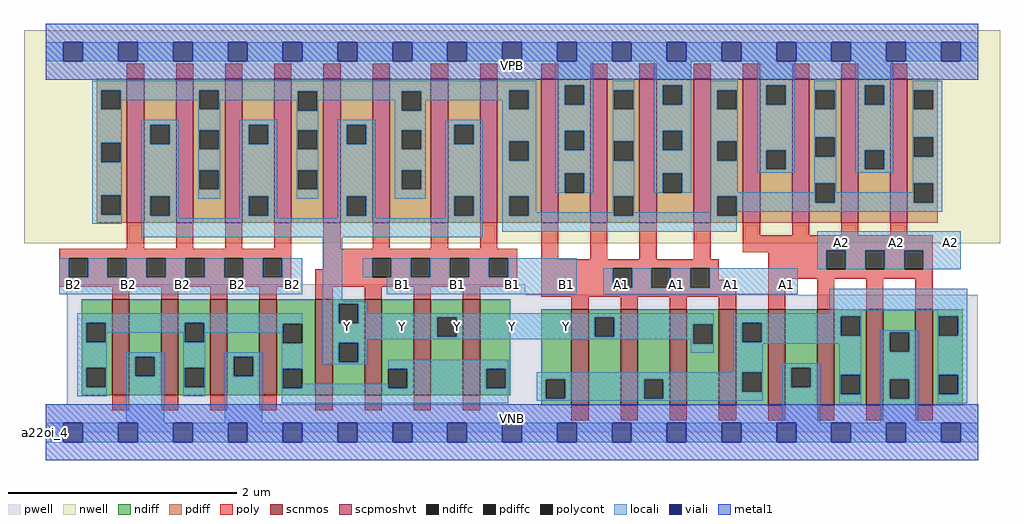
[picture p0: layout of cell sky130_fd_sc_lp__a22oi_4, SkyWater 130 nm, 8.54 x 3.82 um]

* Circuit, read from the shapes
.subckt sky130_fd_sc_lp__a22oi_4 A1 A2 B1 B2 VGND VNB VPB VPWR Y
XM1 VGND B2 n1 VNB sky130_fd_pr__nfet_01v8 w=0.84 l=0.15 m=4
XM2 Y B1 n1 VNB sky130_fd_pr__nfet_01v8 w=0.84 l=0.15 m=4
XM3 Y A1 n2 VNB sky130_fd_pr__nfet_01v8 w=0.84 l=0.15 m=4
XM4 VGND A2 n2 VNB sky130_fd_pr__nfet_01v8 w=0.84 l=0.15 m=4
XM5 Y B2 n3 VPB sky130_fd_pr__pfet_01v8_hvt w=1.26 l=0.15 m=4
XM6 Y B1 n3 VPB sky130_fd_pr__pfet_01v8_hvt w=1.26 l=0.15 m=4
XM7 VPWR A1 n3 VPB sky130_fd_pr__pfet_01v8_hvt w=1.26 l=0.15 m=4
XM8 VPWR A2 n3 VPB sky130_fd_pr__pfet_01v8_hvt w=1.26 l=0.15 m=4
.ends

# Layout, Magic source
magic
tech sky130A
magscale 1 2
<< nwell >>
rect -38 331 1670 704
<< pwell >>
rect 37 241 839 259
rect 37 49 1631 241
rect 0 0 1632 49
<< scnmos >>
rect 116 65 146 233
rect 202 65 232 233
rect 288 65 318 233
rect 374 65 404 233
rect 472 65 502 233
rect 558 65 588 233
rect 644 65 674 233
rect 730 65 760 233
rect 920 47 950 215
rect 1006 47 1036 215
rect 1092 47 1122 215
rect 1178 47 1208 215
rect 1264 47 1294 215
rect 1350 47 1380 215
rect 1436 47 1466 215
rect 1522 47 1552 215
<< scpmoshvt >>
rect 142 367 172 619
rect 228 367 258 619
rect 314 367 344 619
rect 400 367 430 619
rect 486 367 516 619
rect 572 367 602 619
rect 674 367 704 619
rect 760 367 790 619
rect 867 367 897 619
rect 953 367 983 619
rect 1039 367 1069 619
rect 1134 367 1164 619
rect 1220 367 1250 619
rect 1306 367 1336 619
rect 1392 367 1422 619
rect 1478 367 1508 619
<< ndiff >>
rect 63 192 116 233
rect 63 158 71 192
rect 105 158 116 192
rect 63 113 116 158
rect 63 79 71 113
rect 105 79 116 113
rect 63 65 116 79
rect 146 132 202 233
rect 146 98 157 132
rect 191 98 202 132
rect 146 65 202 98
rect 232 192 288 233
rect 232 158 243 192
rect 277 158 288 192
rect 232 113 288 158
rect 232 79 243 113
rect 277 79 288 113
rect 232 65 288 79
rect 318 132 374 233
rect 318 98 329 132
rect 363 98 374 132
rect 318 65 374 98
rect 404 190 472 233
rect 404 156 415 190
rect 449 156 472 190
rect 404 111 472 156
rect 404 77 415 111
rect 449 77 472 111
rect 404 65 472 77
rect 502 225 558 233
rect 502 191 513 225
rect 547 191 558 225
rect 502 157 558 191
rect 502 123 513 157
rect 547 123 558 157
rect 502 65 558 123
rect 588 111 644 233
rect 588 77 599 111
rect 633 77 644 111
rect 588 65 644 77
rect 674 201 730 233
rect 674 167 685 201
rect 719 167 730 201
rect 674 65 730 167
rect 760 111 813 233
rect 760 77 771 111
rect 805 77 813 111
rect 760 65 813 77
rect 867 93 920 215
rect 867 59 875 93
rect 909 59 920 93
rect 867 47 920 59
rect 950 201 1006 215
rect 950 167 961 201
rect 995 167 1006 201
rect 950 47 1006 167
rect 1036 93 1092 215
rect 1036 59 1047 93
rect 1081 59 1092 93
rect 1036 47 1092 59
rect 1122 189 1178 215
rect 1122 155 1133 189
rect 1167 155 1178 189
rect 1122 47 1178 155
rect 1208 192 1264 215
rect 1208 158 1219 192
rect 1253 158 1264 192
rect 1208 105 1264 158
rect 1208 71 1219 105
rect 1253 71 1264 105
rect 1208 47 1264 71
rect 1294 113 1350 215
rect 1294 79 1305 113
rect 1339 79 1350 113
rect 1294 47 1350 79
rect 1380 203 1436 215
rect 1380 169 1391 203
rect 1425 169 1436 203
rect 1380 101 1436 169
rect 1380 67 1391 101
rect 1425 67 1436 101
rect 1380 47 1436 67
rect 1466 175 1522 215
rect 1466 141 1477 175
rect 1511 141 1522 175
rect 1466 93 1522 141
rect 1466 59 1477 93
rect 1511 59 1522 93
rect 1466 47 1522 59
rect 1552 203 1605 215
rect 1552 169 1563 203
rect 1597 169 1605 203
rect 1552 101 1605 169
rect 1552 67 1563 101
rect 1597 67 1605 101
rect 1552 47 1605 67
<< pdiff >>
rect 89 599 142 619
rect 89 565 97 599
rect 131 565 142 599
rect 89 507 142 565
rect 89 473 97 507
rect 131 473 142 507
rect 89 415 142 473
rect 89 381 97 415
rect 131 381 142 415
rect 89 367 142 381
rect 172 538 228 619
rect 172 504 183 538
rect 217 504 228 538
rect 172 413 228 504
rect 172 379 183 413
rect 217 379 228 413
rect 172 367 228 379
rect 258 599 314 619
rect 258 565 269 599
rect 303 565 314 599
rect 258 529 314 565
rect 258 495 269 529
rect 303 495 314 529
rect 258 459 314 495
rect 258 425 269 459
rect 303 425 314 459
rect 258 367 314 425
rect 344 538 400 619
rect 344 504 355 538
rect 389 504 400 538
rect 344 413 400 504
rect 344 379 355 413
rect 389 379 400 413
rect 344 367 400 379
rect 430 597 486 619
rect 430 563 441 597
rect 475 563 486 597
rect 430 529 486 563
rect 430 495 441 529
rect 475 495 486 529
rect 430 459 486 495
rect 430 425 441 459
rect 475 425 486 459
rect 430 367 486 425
rect 516 538 572 619
rect 516 504 527 538
rect 561 504 572 538
rect 516 413 572 504
rect 516 379 527 413
rect 561 379 572 413
rect 516 367 572 379
rect 602 597 674 619
rect 602 563 623 597
rect 657 563 674 597
rect 602 529 674 563
rect 602 495 623 529
rect 657 495 674 529
rect 602 459 674 495
rect 602 425 623 459
rect 657 425 674 459
rect 602 367 674 425
rect 704 538 760 619
rect 704 504 715 538
rect 749 504 760 538
rect 704 413 760 504
rect 704 379 715 413
rect 749 379 760 413
rect 704 367 760 379
rect 790 599 867 619
rect 790 565 811 599
rect 845 565 867 599
rect 790 509 867 565
rect 790 475 811 509
rect 845 475 867 509
rect 790 413 867 475
rect 790 379 811 413
rect 845 379 867 413
rect 790 367 867 379
rect 897 607 953 619
rect 897 573 908 607
rect 942 573 953 607
rect 897 528 953 573
rect 897 494 908 528
rect 942 494 953 528
rect 897 453 953 494
rect 897 419 908 453
rect 942 419 953 453
rect 897 367 953 419
rect 983 599 1039 619
rect 983 565 994 599
rect 1028 565 1039 599
rect 983 509 1039 565
rect 983 475 994 509
rect 1028 475 1039 509
rect 983 413 1039 475
rect 983 379 994 413
rect 1028 379 1039 413
rect 983 367 1039 379
rect 1069 607 1134 619
rect 1069 573 1080 607
rect 1114 573 1134 607
rect 1069 528 1134 573
rect 1069 494 1080 528
rect 1114 494 1134 528
rect 1069 453 1134 494
rect 1069 419 1080 453
rect 1114 419 1134 453
rect 1069 367 1134 419
rect 1164 599 1220 619
rect 1164 565 1175 599
rect 1209 565 1220 599
rect 1164 509 1220 565
rect 1164 475 1175 509
rect 1209 475 1220 509
rect 1164 413 1220 475
rect 1164 379 1175 413
rect 1209 379 1220 413
rect 1164 367 1220 379
rect 1250 607 1306 619
rect 1250 573 1261 607
rect 1295 573 1306 607
rect 1250 494 1306 573
rect 1250 460 1261 494
rect 1295 460 1306 494
rect 1250 367 1306 460
rect 1336 599 1392 619
rect 1336 565 1347 599
rect 1381 565 1392 599
rect 1336 516 1392 565
rect 1336 482 1347 516
rect 1381 482 1392 516
rect 1336 436 1392 482
rect 1336 402 1347 436
rect 1381 402 1392 436
rect 1336 367 1392 402
rect 1422 607 1478 619
rect 1422 573 1433 607
rect 1467 573 1478 607
rect 1422 494 1478 573
rect 1422 460 1433 494
rect 1467 460 1478 494
rect 1422 367 1478 460
rect 1508 599 1561 619
rect 1508 565 1519 599
rect 1553 565 1561 599
rect 1508 516 1561 565
rect 1508 482 1519 516
rect 1553 482 1561 516
rect 1508 436 1561 482
rect 1508 402 1519 436
rect 1553 402 1561 436
rect 1508 367 1561 402
<< ndiffc >>
rect 71 158 105 192
rect 71 79 105 113
rect 157 98 191 132
rect 243 158 277 192
rect 243 79 277 113
rect 329 98 363 132
rect 415 156 449 190
rect 415 77 449 111
rect 513 191 547 225
rect 513 123 547 157
rect 599 77 633 111
rect 685 167 719 201
rect 771 77 805 111
rect 875 59 909 93
rect 961 167 995 201
rect 1047 59 1081 93
rect 1133 155 1167 189
rect 1219 158 1253 192
rect 1219 71 1253 105
rect 1305 79 1339 113
rect 1391 169 1425 203
rect 1391 67 1425 101
rect 1477 141 1511 175
rect 1477 59 1511 93
rect 1563 169 1597 203
rect 1563 67 1597 101
<< pdiffc >>
rect 97 565 131 599
rect 97 473 131 507
rect 97 381 131 415
rect 183 504 217 538
rect 183 379 217 413
rect 269 565 303 599
rect 269 495 303 529
rect 269 425 303 459
rect 355 504 389 538
rect 355 379 389 413
rect 441 563 475 597
rect 441 495 475 529
rect 441 425 475 459
rect 527 504 561 538
rect 527 379 561 413
rect 623 563 657 597
rect 623 495 657 529
rect 623 425 657 459
rect 715 504 749 538
rect 715 379 749 413
rect 811 565 845 599
rect 811 475 845 509
rect 811 379 845 413
rect 908 573 942 607
rect 908 494 942 528
rect 908 419 942 453
rect 994 565 1028 599
rect 994 475 1028 509
rect 994 379 1028 413
rect 1080 573 1114 607
rect 1080 494 1114 528
rect 1080 419 1114 453
rect 1175 565 1209 599
rect 1175 475 1209 509
rect 1175 379 1209 413
rect 1261 573 1295 607
rect 1261 460 1295 494
rect 1347 565 1381 599
rect 1347 482 1381 516
rect 1347 402 1381 436
rect 1433 573 1467 607
rect 1433 460 1467 494
rect 1519 565 1553 599
rect 1519 482 1553 516
rect 1519 402 1553 436
<< poly >>
rect 142 619 172 645
rect 228 619 258 645
rect 314 619 344 645
rect 400 619 430 645
rect 486 619 516 645
rect 572 619 602 645
rect 674 619 704 645
rect 760 619 790 645
rect 867 619 897 645
rect 953 619 983 645
rect 1039 619 1069 645
rect 1134 619 1164 645
rect 1220 619 1250 645
rect 1306 619 1336 645
rect 1392 619 1422 645
rect 1478 619 1508 645
rect 142 321 172 367
rect 228 321 258 367
rect 314 321 344 367
rect 400 321 430 367
rect 24 305 430 321
rect 24 271 40 305
rect 74 271 108 305
rect 142 271 176 305
rect 210 271 244 305
rect 278 271 312 305
rect 346 271 380 305
rect 414 271 430 305
rect 486 321 516 367
rect 572 321 602 367
rect 674 321 704 367
rect 760 321 790 367
rect 486 305 825 321
rect 486 285 571 305
rect 24 255 430 271
rect 472 271 571 285
rect 605 271 639 305
rect 673 271 707 305
rect 741 271 775 305
rect 809 271 825 305
rect 472 255 825 271
rect 867 303 897 367
rect 953 303 983 367
rect 1039 303 1069 367
rect 1134 303 1164 367
rect 1220 345 1250 367
rect 1306 345 1336 367
rect 1392 345 1422 367
rect 1478 345 1508 367
rect 1220 319 1552 345
rect 1220 315 1366 319
rect 867 287 1178 303
rect 116 233 146 255
rect 202 233 232 255
rect 288 233 318 255
rect 374 233 404 255
rect 472 233 502 255
rect 558 233 588 255
rect 644 233 674 255
rect 730 233 760 255
rect 867 253 992 287
rect 1026 253 1060 287
rect 1094 253 1128 287
rect 1162 267 1178 287
rect 1264 285 1366 315
rect 1400 285 1434 319
rect 1468 285 1502 319
rect 1536 285 1552 319
rect 1264 269 1552 285
rect 1162 253 1208 267
rect 867 237 1208 253
rect 920 215 950 237
rect 1006 215 1036 237
rect 1092 215 1122 237
rect 1178 215 1208 237
rect 1264 215 1294 269
rect 1350 215 1380 269
rect 1436 215 1466 269
rect 1522 215 1552 269
rect 116 39 146 65
rect 202 39 232 65
rect 288 39 318 65
rect 374 39 404 65
rect 472 39 502 65
rect 558 39 588 65
rect 644 39 674 65
rect 730 39 760 65
rect 920 21 950 47
rect 1006 21 1036 47
rect 1092 21 1122 47
rect 1178 21 1208 47
rect 1264 21 1294 47
rect 1350 21 1380 47
rect 1436 21 1466 47
rect 1522 21 1552 47
<< polycont >>
rect 40 271 74 305
rect 108 271 142 305
rect 176 271 210 305
rect 244 271 278 305
rect 312 271 346 305
rect 380 271 414 305
rect 571 271 605 305
rect 639 271 673 305
rect 707 271 741 305
rect 775 271 809 305
rect 992 253 1026 287
rect 1060 253 1094 287
rect 1128 253 1162 287
rect 1366 285 1400 319
rect 1434 285 1468 319
rect 1502 285 1536 319
<< locali >>
rect 0 649 31 683
rect 65 649 127 683
rect 161 649 223 683
rect 257 649 319 683
rect 353 649 415 683
rect 449 649 511 683
rect 545 649 607 683
rect 641 649 703 683
rect 737 649 799 683
rect 833 649 895 683
rect 929 649 991 683
rect 1025 649 1087 683
rect 1121 649 1183 683
rect 1217 649 1279 683
rect 1313 649 1375 683
rect 1409 649 1471 683
rect 1505 649 1567 683
rect 1601 649 1632 683
rect 81 599 858 615
rect 81 565 97 599
rect 131 581 269 599
rect 131 565 133 581
rect 81 507 133 565
rect 267 565 269 581
rect 303 597 811 599
rect 303 581 441 597
rect 303 565 305 581
rect 81 473 97 507
rect 131 473 133 507
rect 81 415 133 473
rect 81 381 97 415
rect 131 381 133 415
rect 81 365 133 381
rect 167 538 233 547
rect 167 504 183 538
rect 217 504 233 538
rect 167 413 233 504
rect 167 379 183 413
rect 217 379 233 413
rect 267 529 305 565
rect 439 563 441 581
rect 475 581 623 597
rect 475 563 477 581
rect 267 495 269 529
rect 303 495 305 529
rect 267 459 305 495
rect 267 425 269 459
rect 303 425 305 459
rect 267 409 305 425
rect 339 538 405 547
rect 339 504 355 538
rect 389 504 405 538
rect 339 413 405 504
rect 167 375 233 379
rect 339 379 355 413
rect 389 379 405 413
rect 439 529 477 563
rect 611 563 623 581
rect 657 581 811 597
rect 657 563 665 581
rect 439 495 441 529
rect 475 495 477 529
rect 439 459 477 495
rect 439 425 441 459
rect 475 425 477 459
rect 439 409 477 425
rect 511 538 577 547
rect 511 504 527 538
rect 561 504 577 538
rect 511 413 577 504
rect 339 375 405 379
rect 511 379 527 413
rect 561 379 577 413
rect 611 529 665 563
rect 799 565 811 581
rect 845 565 858 599
rect 611 495 623 529
rect 657 495 665 529
rect 611 459 665 495
rect 611 425 623 459
rect 657 425 665 459
rect 611 409 665 425
rect 699 538 765 547
rect 699 504 715 538
rect 749 504 765 538
rect 699 413 765 504
rect 511 375 577 379
rect 699 379 715 413
rect 749 379 765 413
rect 699 375 765 379
rect 167 341 765 375
rect 799 509 858 565
rect 799 475 811 509
rect 845 475 858 509
rect 799 413 858 475
rect 892 607 958 649
rect 892 573 908 607
rect 942 573 958 607
rect 892 528 958 573
rect 892 494 908 528
rect 942 494 958 528
rect 892 453 958 494
rect 892 419 908 453
rect 942 419 958 453
rect 992 599 1030 615
rect 992 565 994 599
rect 1028 565 1030 599
rect 992 509 1030 565
rect 992 475 994 509
rect 1028 475 1030 509
rect 799 379 811 413
rect 845 385 858 413
rect 992 413 1030 475
rect 1064 607 1130 649
rect 1064 573 1080 607
rect 1114 573 1130 607
rect 1064 528 1130 573
rect 1064 494 1080 528
rect 1114 494 1130 528
rect 1064 453 1130 494
rect 1064 419 1080 453
rect 1114 419 1130 453
rect 1164 599 1211 615
rect 1164 565 1175 599
rect 1209 565 1211 599
rect 1164 509 1211 565
rect 1164 475 1175 509
rect 1209 475 1211 509
rect 1164 420 1211 475
rect 1245 607 1311 649
rect 1245 573 1261 607
rect 1295 573 1311 607
rect 1245 494 1311 573
rect 1245 460 1261 494
rect 1295 460 1311 494
rect 1245 454 1311 460
rect 1345 599 1383 615
rect 1345 565 1347 599
rect 1381 565 1383 599
rect 1345 516 1383 565
rect 1345 482 1347 516
rect 1381 482 1383 516
rect 1345 436 1383 482
rect 1417 607 1483 649
rect 1417 573 1433 607
rect 1467 573 1483 607
rect 1417 494 1483 573
rect 1417 460 1433 494
rect 1467 460 1483 494
rect 1417 454 1483 460
rect 1517 599 1569 615
rect 1517 565 1519 599
rect 1553 565 1569 599
rect 1517 516 1569 565
rect 1517 482 1519 516
rect 1553 482 1569 516
rect 1345 420 1347 436
rect 992 385 994 413
rect 845 379 994 385
rect 1028 385 1030 413
rect 1164 413 1347 420
rect 1164 385 1175 413
rect 1028 379 1175 385
rect 1209 402 1347 413
rect 1381 420 1383 436
rect 1517 436 1569 482
rect 1517 420 1519 436
rect 1381 402 1519 420
rect 1553 402 1569 436
rect 1209 386 1569 402
rect 799 351 1209 379
rect 24 271 40 305
rect 74 271 108 305
rect 142 271 176 305
rect 210 271 244 305
rect 278 271 312 305
rect 346 271 380 305
rect 414 271 449 305
rect 24 242 449 271
rect 485 229 519 341
rect 1350 319 1601 352
rect 555 271 571 305
rect 605 271 639 305
rect 673 271 707 305
rect 741 271 775 305
rect 809 271 929 305
rect 597 242 929 271
rect 976 253 992 287
rect 1026 253 1060 287
rect 1094 253 1128 287
rect 1162 253 1316 287
rect 1350 285 1366 319
rect 1400 285 1434 319
rect 1468 285 1502 319
rect 1536 285 1601 319
rect 976 242 1316 253
rect 485 225 563 229
rect 55 192 449 208
rect 55 158 71 192
rect 105 174 243 192
rect 105 158 107 174
rect 55 113 107 158
rect 241 158 243 174
rect 277 190 449 192
rect 277 174 415 190
rect 277 158 279 174
rect 55 79 71 113
rect 105 79 107 113
rect 55 63 107 79
rect 141 132 207 140
rect 141 98 157 132
rect 191 98 207 132
rect 141 17 207 98
rect 241 113 279 158
rect 413 156 415 174
rect 241 79 243 113
rect 277 79 279 113
rect 241 63 279 79
rect 313 132 379 140
rect 313 98 329 132
rect 363 98 379 132
rect 313 17 379 98
rect 413 111 449 156
rect 485 191 513 225
rect 547 208 563 225
rect 1371 213 1613 251
rect 1371 208 1427 213
rect 547 201 1169 208
rect 547 191 685 201
rect 485 167 685 191
rect 719 167 961 201
rect 995 189 1169 201
rect 995 167 1133 189
rect 485 163 1133 167
rect 485 157 563 163
rect 485 123 513 157
rect 547 123 563 157
rect 1129 155 1133 163
rect 1167 155 1169 189
rect 1129 139 1169 155
rect 1203 203 1427 208
rect 1203 192 1391 203
rect 1203 158 1219 192
rect 1253 169 1391 192
rect 1425 169 1427 203
rect 1561 203 1613 213
rect 1253 158 1427 169
rect 1203 155 1427 158
rect 485 119 563 123
rect 413 77 415 111
rect 599 111 809 127
rect 449 77 599 85
rect 633 77 771 111
rect 805 77 809 111
rect 1203 105 1255 155
rect 413 51 809 77
rect 859 93 1219 105
rect 859 59 875 93
rect 909 59 1047 93
rect 1081 71 1219 93
rect 1253 71 1255 105
rect 1081 59 1255 71
rect 859 55 1255 59
rect 1289 113 1355 121
rect 1289 79 1305 113
rect 1339 79 1355 113
rect 1289 17 1355 79
rect 1389 101 1427 155
rect 1389 67 1391 101
rect 1425 67 1427 101
rect 1389 51 1427 67
rect 1461 175 1527 179
rect 1461 141 1477 175
rect 1511 141 1527 175
rect 1461 93 1527 141
rect 1461 59 1477 93
rect 1511 59 1527 93
rect 1461 17 1527 59
rect 1561 169 1563 203
rect 1597 169 1613 203
rect 1561 101 1613 169
rect 1561 67 1563 101
rect 1597 67 1613 101
rect 1561 51 1613 67
rect 0 -17 31 17
rect 65 -17 127 17
rect 161 -17 223 17
rect 257 -17 319 17
rect 353 -17 415 17
rect 449 -17 511 17
rect 545 -17 607 17
rect 641 -17 703 17
rect 737 -17 799 17
rect 833 -17 895 17
rect 929 -17 991 17
rect 1025 -17 1087 17
rect 1121 -17 1183 17
rect 1217 -17 1279 17
rect 1313 -17 1375 17
rect 1409 -17 1471 17
rect 1505 -17 1567 17
rect 1601 -17 1632 17
<< viali >>
rect 31 649 65 683
rect 127 649 161 683
rect 223 649 257 683
rect 319 649 353 683
rect 415 649 449 683
rect 511 649 545 683
rect 607 649 641 683
rect 703 649 737 683
rect 799 649 833 683
rect 895 649 929 683
rect 991 649 1025 683
rect 1087 649 1121 683
rect 1183 649 1217 683
rect 1279 649 1313 683
rect 1375 649 1409 683
rect 1471 649 1505 683
rect 1567 649 1601 683
rect 31 -17 65 17
rect 127 -17 161 17
rect 223 -17 257 17
rect 319 -17 353 17
rect 415 -17 449 17
rect 511 -17 545 17
rect 607 -17 641 17
rect 703 -17 737 17
rect 799 -17 833 17
rect 895 -17 929 17
rect 991 -17 1025 17
rect 1087 -17 1121 17
rect 1183 -17 1217 17
rect 1279 -17 1313 17
rect 1375 -17 1409 17
rect 1471 -17 1505 17
rect 1567 -17 1601 17
<< metal1 >>
rect 0 683 1632 715
rect 0 649 31 683
rect 65 649 127 683
rect 161 649 223 683
rect 257 649 319 683
rect 353 649 415 683
rect 449 649 511 683
rect 545 649 607 683
rect 641 649 703 683
rect 737 649 799 683
rect 833 649 895 683
rect 929 649 991 683
rect 1025 649 1087 683
rect 1121 649 1183 683
rect 1217 649 1279 683
rect 1313 649 1375 683
rect 1409 649 1471 683
rect 1505 649 1567 683
rect 1601 649 1632 683
rect 0 617 1632 649
rect 0 17 1632 49
rect 0 -17 31 17
rect 65 -17 127 17
rect 161 -17 223 17
rect 257 -17 319 17
rect 353 -17 415 17
rect 449 -17 511 17
rect 545 -17 607 17
rect 641 -17 703 17
rect 737 -17 799 17
rect 833 -17 895 17
rect 929 -17 991 17
rect 1025 -17 1087 17
rect 1121 -17 1183 17
rect 1217 -17 1279 17
rect 1313 -17 1375 17
rect 1409 -17 1471 17
rect 1505 -17 1567 17
rect 1601 -17 1632 17
rect 0 -49 1632 -17
<< labels >>
flabel pwell s 0 0 1632 49 0 FreeSans 200 0 0 0 VNB
port 6 nsew ground bidirectional
flabel nwell s 0 617 1632 666 0 FreeSans 200 0 0 0 VPB
port 7 nsew power bidirectional
rlabel comment s 0 0 0 0 4 a22oi_4
flabel metal1 s 0 617 1632 666 0 FreeSans 340 0 0 0 VPWR
port 8 nsew power bidirectional
flabel metal1 s 0 0 1632 49 0 FreeSans 340 0 0 0 VGND
port 5 nsew ground bidirectional
flabel locali s 511 168 545 202 0 FreeSans 340 0 0 0 Y
port 9 nsew signal output
flabel locali s 607 168 641 202 0 FreeSans 340 0 0 0 Y
port 9 nsew signal output
flabel locali s 703 168 737 202 0 FreeSans 340 0 0 0 Y
port 9 nsew signal output
flabel locali s 799 168 833 202 0 FreeSans 340 0 0 0 Y
port 9 nsew signal output
flabel locali s 895 168 929 202 0 FreeSans 340 0 0 0 Y
port 9 nsew signal output
flabel locali s 991 242 1025 276 0 FreeSans 340 0 0 0 A1
port 1 nsew signal input
flabel locali s 1087 242 1121 276 0 FreeSans 340 0 0 0 A1
port 1 nsew signal input
flabel locali s 1183 242 1217 276 0 FreeSans 340 0 0 0 A1
port 1 nsew signal input
flabel locali s 1279 242 1313 276 0 FreeSans 340 0 0 0 A1
port 1 nsew signal input
flabel locali s 1375 316 1409 350 0 FreeSans 340 0 0 0 A2
port 2 nsew signal input
flabel locali s 1471 316 1505 350 0 FreeSans 340 0 0 0 A2
port 2 nsew signal input
flabel locali s 1567 316 1601 350 0 FreeSans 340 0 0 0 A2
port 2 nsew signal input
flabel locali s 607 242 641 276 0 FreeSans 340 0 0 0 B1
port 3 nsew signal input
flabel locali s 703 242 737 276 0 FreeSans 340 0 0 0 B1
port 3 nsew signal input
flabel locali s 799 242 833 276 0 FreeSans 340 0 0 0 B1
port 3 nsew signal input
flabel locali s 895 242 929 276 0 FreeSans 340 0 0 0 B1
port 3 nsew signal input
flabel locali s 31 242 65 276 0 FreeSans 340 0 0 0 B2
port 4 nsew signal input
flabel locali s 127 242 161 276 0 FreeSans 340 0 0 0 B2
port 4 nsew signal input
flabel locali s 223 242 257 276 0 FreeSans 340 0 0 0 B2
port 4 nsew signal input
flabel locali s 319 242 353 276 0 FreeSans 340 0 0 0 B2
port 4 nsew signal input
flabel locali s 415 242 449 276 0 FreeSans 340 0 0 0 B2
port 4 nsew signal input
<< properties >>
string LEFsite unit
string LEFclass CORE
string FIXED_BBOX 0 0 1632 666
string GDS_FILE $PDKPATH/libs.ref/sky130_fd_sc_lp/gds/sky130_fd_sc_lp.gds
string LEFsymmetry X Y R90
string GDS_END 437958
string GDS_START 423362
<< end >>
